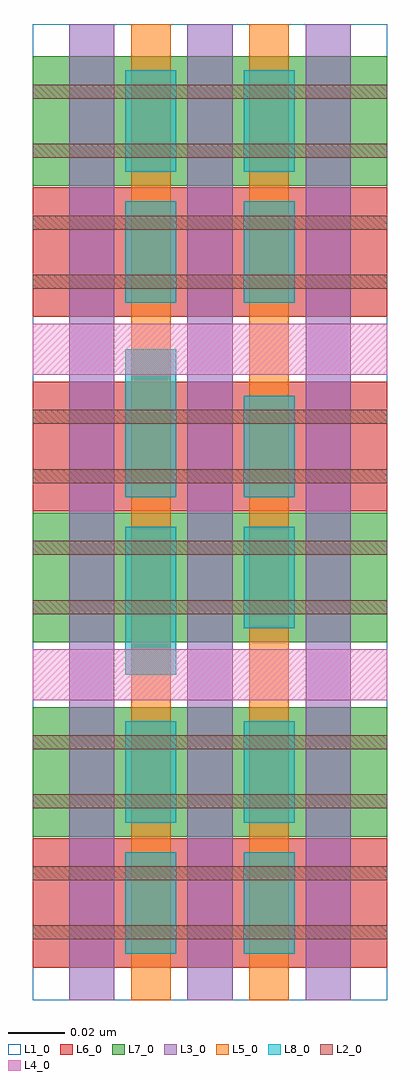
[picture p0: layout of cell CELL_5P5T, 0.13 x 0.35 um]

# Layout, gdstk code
import gdstk
lib = gdstk.Library(unit=1e-6, precision=1e-11)
def R(c, l, rs):  # rectangles x0, y0, x1, y1
    for r in rs: c.add(gdstk.rectangle(r[:2], r[2:], *l))
def A(c, l, x, y, w, h, nx, ny, dx, dy):  # array of equal rectangles
    R(c, l, [(x+i*dx, y+j*dy, x+i*dx+w, y+j*dy+h) for i in range(nx) for j in range(ny)])
L1_0 = (1, 0)
L2_0 = (2, 0)
L3_0 = (3, 0)
L4_0 = (4, 0)
L5_0 = (5, 0)
L6_0 = (6, 0)
L7_0 = (7, 0)
L8_0 = (8, 0)

cell_5p5t = lib.new_cell('CELL_5P5T')
R(cell_5p5t, L1_0, [(0,0,0.126,0.3465)])
R(cell_5p5t, L2_0, [(0,0.0215,0.126,0.0265), (0,0.0425,0.126,0.0475), (0,0.068,0.126,0.073), (0,0.089,0.126,0.094), (0,0.137,0.126,0.142), (0,0.158,0.126,0.163), (0,0.1835,0.126,0.1885), (0,0.2045,0.126,0.2095), (0,0.2525,0.126,0.2575), (0,0.2735,0.126,0.2785), (0,0.299,0.126,0.304), (0,0.32,0.126,0.325)])
A(cell_5p5t, L3_0, 0.013, 0, 0.016, 0.3465, 3, 1, 0.042, 0)
R(cell_5p5t, L4_0, [(0,0.1065,0.126,0.1245), (0,0.222,0.126,0.24)])
R(cell_5p5t, L5_0, [(0.035,0,0.049,0.3465), (0.077,0,0.091,0.3465)])
R(cell_5p5t, L6_0, [(0,0.0115,0.126,0.0575), (0,0.1735,0.126,0.2195), (0,0.2425,0.126,0.2885)])
R(cell_5p5t, L7_0, [(0,0.058,0.126,0.104), (0,0.127,0.126,0.173), (0,0.289,0.126,0.335)])
R(cell_5p5t, L8_0, [(0.033,0.0165,0.051,0.0525), (0.075,0.0165,0.093,0.0525), (0.033,0.063,0.051,0.099), (0.075,0.063,0.093,0.099), (0.033,0.1155,0.051,0.168), (0.075,0.132,0.093,0.168), (0.033,0.1785,0.051,0.231), (0.075,0.1785,0.093,0.2145), (0.033,0.2475,0.051,0.2835), (0.075,0.2475,0.093,0.2835), (0.033,0.294,0.051,0.33), (0.075,0.294,0.093,0.33)])

lib.write_gds('CELL_5P5T.gds')
